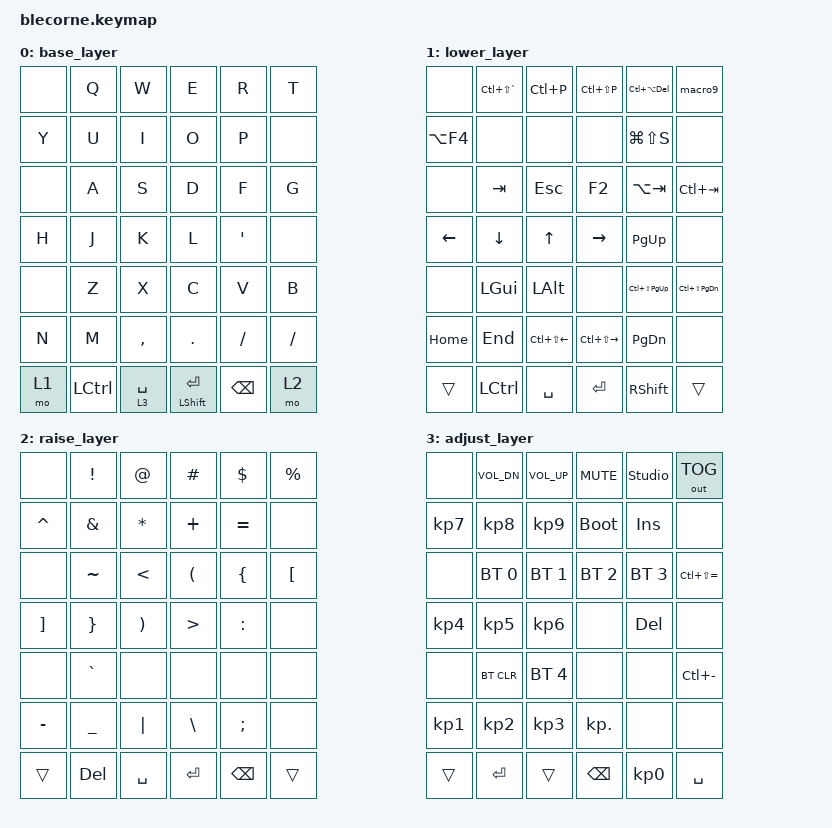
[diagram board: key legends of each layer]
/* Converted from Kenny's VIA JSON (Crkbd, corbe32-11126_1_pk46.json) - CORRECTED ORDER Nov 2
 * VIA layers: 0=Base, 1=Fn1/Lower, 2=Fn2/Raise, 3=Tri-layer Adjust
 *
 * STOCK ORDER (Boardsource blecorne, foostan_corne_6col_layout) - this was wrong in v1:
 *  NOT half-by-half. Stock order is row-by-row, then thumbs at the end:
 *   Row 0: left row0 (6) + right row0 visual (6)
 *   Row 1: left row1 (6) + right row1 visual (6)
 *   Row 2: left row2 (6) + right row2 visual (6)
 *   Thumbs: left outer->inner (3) + right inner->outer (3)
 *  That is 12 + 12 + 12 + 6 = 42 bindings per layer.
 *
 * CHOSEN NODE RESTORED: the v1 file dropped the stock 'chosen { zmk,physical-layout }'
 * node, which is why ZMK Studio could not display a layout at all. It is back here.
 *
 * SPECIAL: FN_MO13=&mo 1, FN_MO23=&mo 2, NO conditional_layers (user decision Nov 2).
 * Layer 3 is a NORMAL layer now. Left inner thumb = &lt 3 SPACE (tap Space, hold Layer 3).
 * Trade-off: Fn1+Fn2 together will NO LONGER give Adjust - Layer 2 wins over Layer 1,
 * so you get Raise keys, not Adjust. Adjust is now only via the left inner thumb hold.
 * SFTENT=&mt LSHIFT ENTER, MACRO(9)=string macro defined in behaviors node (Layer 1, next to Ctrl+Alt+Del),
 * Layer 1 bottom-left innermost keys = Ctrl+Shift+PgUp / Ctrl+Shift+PgDn, RGB=&none, numpad=KP_NUMBER_*
 * Layer 3 (Adjust) row 1: BT_SEL 0-3 on left, BT_CLR on left row 2 (first usable key)
 * Layer 3 row 0 left, first blank after Mute = &studio_unlock (press while Studio is connected to unlock editing)
 * Layer 3 row 0 left last = &out OUT_TOG (toggle USB/BT output, for Studio over USB)
 * Layer 3 row 0 right blank after KP9 = &bootloader (enter UF2 mode without double-tap reset)
 * Layer 3 row 2 left, blank after BT_CLR = &bt BT_SEL 4 (5th BT profile) */
#include <behaviors.dtsi>
#include <dt-bindings/zmk/keys.h>
#include <dt-bindings/zmk/bt.h>
#include <dt-bindings/zmk/outputs.h>

/ {
    chosen {
        zmk,physical-layout = &foostan_corne_6col_layout;
    };

    behaviors {
        macro9: macro9 {
            compatible = "zmk,behavior-macro";
            #binding-cells = <0>;
            bindings = <&kp N0 &kp N3 &kp N1 &kp N1 &kp N1 &kp N9>;
        };
    };

    keymap {
        compatible = "zmk,keymap";
        base_layer {
            display-name = "base_layer";
            bindings = <
                /* row 0 left + right */
                &none &kp Q &kp W &kp E &kp R &kp T
                &kp Y &kp U &kp I &kp O &kp P &none
                /* row 1 left + right */
                &none &kp A &kp S &kp D &kp F &kp G
                &kp H &kp J &kp K &kp L &kp SQT &none
                /* row 2 left + right */
                &none &kp Z &kp X &kp C &kp V &kp B
                &kp N &kp M &kp COMMA &kp DOT &kp FSLH &kp FSLH /* base last button, 3rd row right: slash, Shift+/ = ? */
                /* thumbs left outer->inner + right inner->outer */
                &mo 1 &kp LCTRL &lt 3 SPACE &mt LSHIFT ENTER &kp BSPC &mo 2
            >;
        };

        lower_layer {
            display-name = "lower_layer";
            bindings = <
                /* row 0 left + right */
                &none &kp LC(LS(GRAVE)) &kp LC(P) &kp LC(LS(P)) &kp LC(LA(DELETE)) &macro9 /* Layer 1 string macro, next to Ctrl+Alt+Del */
                &kp LA(F4) &none &none &none &kp LG(LS(S)) &none
                /* row 1 left + right */
                &none &kp TAB &kp ESCAPE &kp F2 &kp LA(TAB) &kp LC(TAB)
                &kp LEFT &kp DOWN &kp UP &kp RIGHT &kp PG_UP &none
                /* row 2 left + right */
                &none &kp LGUI &kp LALT &none &kp LC(LS(PG_UP)) &kp LC(LS(PG_DN))
                &kp HOME &kp END &kp LC(LS(LEFT)) &kp LC(LS(RIGHT)) &kp PG_DN &none
                /* thumbs left outer->inner + right inner->outer */
                &trans &kp LCTRL &kp SPACE &kp ENTER &kp RSHIFT &trans
            >;
        };

        raise_layer {
            display-name = "raise_layer";
            bindings = <
                /* row 0 left + right */
                &none &kp EXCL &kp AT &kp HASH &kp DLLR &kp PRCNT
                &kp CARET &kp AMPS &kp ASTERISK &kp PLUS &kp EQUAL &none
                /* row 1 left + right */
                &none &kp TILDE &kp LT &kp LPAR &kp LBRC &kp LBKT
                &kp RBKT &kp RBRC &kp RPAR &kp GT &kp COLON &none
                /* row 2 left + right */
                &none &kp GRAVE &none &none &none &none
                &kp MINUS &kp UNDER &kp PIPE &kp BSLH &kp SEMI &none
                /* thumbs left outer->inner + right inner->outer */
                &trans &kp DELETE &kp SPACE &kp ENTER &kp BSPC &trans
            >;
        };

        adjust_layer {
            display-name = "adjust_layer";
            bindings = <
                /* row 0 left + right */
                &none &kp C_VOL_DN &kp C_VOL_UP &kp C_MUTE &studio_unlock &out OUT_TOG
                &kp KP_NUMBER_7 &kp KP_NUMBER_8 &kp KP_NUMBER_9 &bootloader &kp INSERT &none
                /* row 1 left + right */
                &none &bt BT_SEL 0 &bt BT_SEL 1 &bt BT_SEL 2 &bt BT_SEL 3 &kp LC(LS(EQUAL))
                &kp KP_NUMBER_4 &kp KP_NUMBER_5 &kp KP_NUMBER_6 &none &kp DELETE &none
                /* row 2 left + right */
                &none &bt BT_CLR &bt BT_SEL 4 &none &none &kp LC(MINUS)
                &kp KP_NUMBER_1 &kp KP_NUMBER_2 &kp KP_NUMBER_3 &kp KP_DOT &none &none
                /* thumbs left outer->inner + right inner->outer */
                &trans &kp ENTER &trans &kp BSPC &kp KP_NUMBER_0 &kp SPACE
            >;
        };

    };
};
